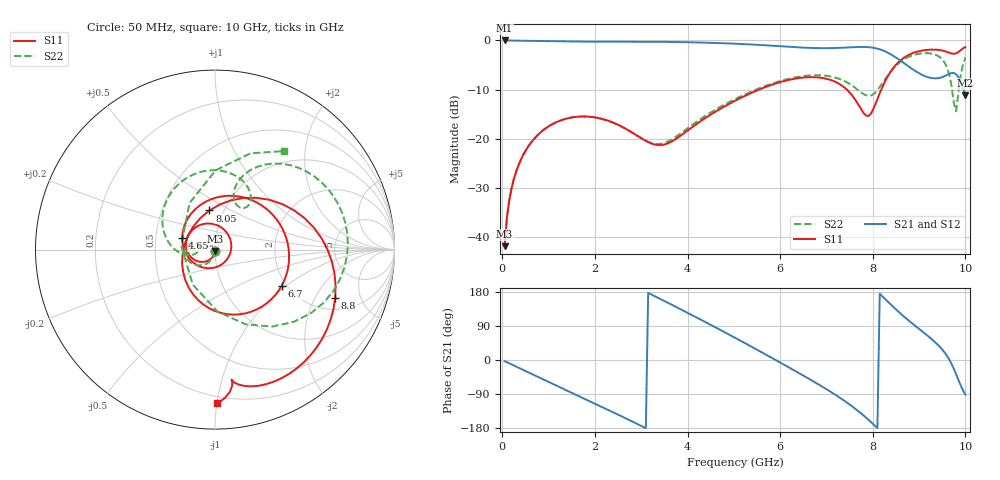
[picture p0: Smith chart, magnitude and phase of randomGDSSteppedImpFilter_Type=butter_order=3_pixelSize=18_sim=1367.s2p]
! freq	dB(S11)	phase(S11)	dB(S12)	phase(S12)
!  dB(S21)	phase(S21)	dB(S22)	phase(S22)
!S-par simulation data
#  GHz  S  DB  R 50
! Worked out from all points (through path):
!   200 points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, 50 MHz to 10 GHz, reference 50 ohm
!   highest |S21| = -0.01 dB at 50 MHz (marker M1); lowest = -11.2 dB at 10 GHz (marker M2)
!   lowest |S11| = -41.9 dB at 50 MHz (marker M3), VSWR 1.02, Z = 50 - j0.801 ohm
!   |S11| at or under -10 dB: start of sweep to 5.548 GHz; 7.436 GHz to 8.184 GHz (747.9 MHz wide, 9.58 % of centre)
!   |S22| runs from -41.9 to -2.6 dB; largest |S21 - S12| = 0
!   S11 on the Smith chart (normalised r, x): 50 MHz: 1.00, -0.02; 4.65 GHz: 0.69, +0.09; 6.7 GHz: 1.88, -0.93; 8.05 GHz: 0.86, +0.39; 8.8 GHz: 2.65, -2.96; 10 GHz: 0.16, -1.00
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0.05  -41.91 -91.7  -0.01 -3.0  -0.01 -3.0  -41.91 -90.9
0.2  -30.14 -103.1  -0.02 -11.7  -0.02 -11.7  -30.13 -99.8
0.5  -22.52 -123.6  -0.06 -29.0  -0.06 -29.0  -22.50 -115.2
1.15  -16.73 -167.6  -0.17 -66.3  -0.17 -66.3  -16.72 -146.5
1.75  -15.49 149.9  -0.24 -100.6  -0.24 -100.6  -15.49 -172.7
2.65  -17.91 72.7  -0.25 -153.0  -0.25 -153.0  -17.93 160.5
3.4  -21.33 -32.1  -0.28 161.8  -0.28 161.8  -21.08 176.4
4.05  -18.02 -131.3  -0.38 121.4  -0.38 121.4  -17.54 -166.9
4.65  -14.24 160.2  -0.53 83.2  -0.53 83.2  -13.84 -176.0
5.05  -12.18 119.1  -0.67 57.1  -0.67 57.1  -11.85 172.5
5.85  -8.93 43.8  -1.09 3.6  -1.09 3.6  -8.72 140.9
6.7  -7.48 -28.6  -1.54 -55.2  -1.54 -55.2  -7.10 97.2
7.45  -10.12 -102.3  -1.43 -113.1  -1.43 -113.1  -8.59 58.2
7.85  -15.28 170.9  -1.34 -151.6  -1.34 -151.6  -11.16 56.7
8.05  -13.14 98.1  -1.57 -173.7  -1.57 -173.7  -10.65 68.4
8.35  -6.89 34.1  -2.62 151.0  -2.62 151.0  -6.79 68.1
8.8  -2.84 -21.8  -5.48 101.6  -5.48 101.6  -3.26 36.5
9.3  -1.87 -62.6  -7.71 52.1  -7.71 52.1  -2.75 -7.7
9.6  -2.33 -79.9  -7.05 11.4  -7.05 11.4  -5.46 -53.5
9.8  -2.64 -82.6  -6.88 -37.8  -6.88 -37.8  -14.43 172.9
9.9  -1.98 -84.0  -8.51 -67.3  -8.51 -67.3  -7.07 89.4
10  -1.35 -89.1  -11.22 -91.5  -11.22 -91.5  -3.49 55.1
